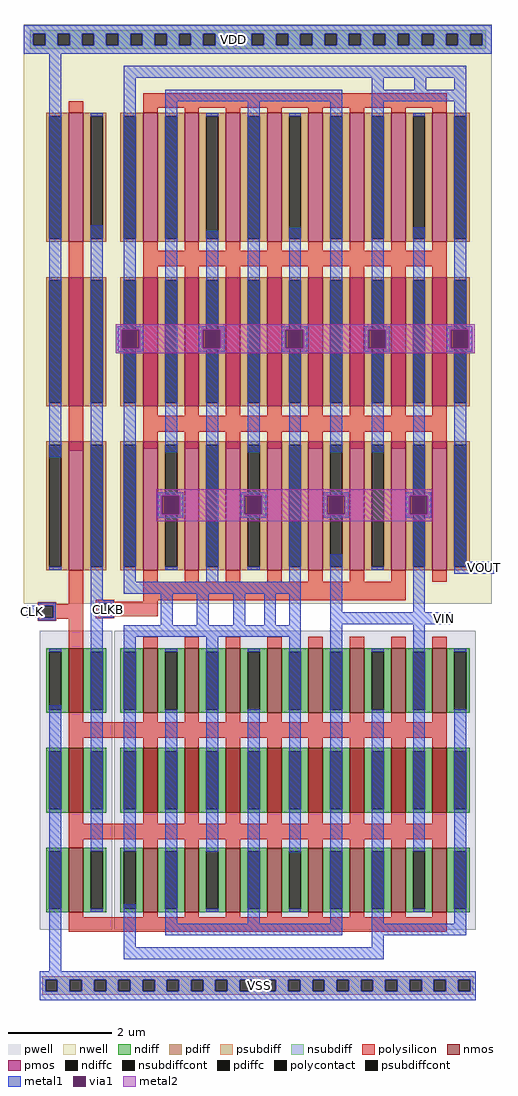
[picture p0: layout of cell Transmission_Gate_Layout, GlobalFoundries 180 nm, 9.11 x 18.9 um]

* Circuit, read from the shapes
.subckt Transmission_Gate_Layout VSS VDD CLKB VIN VOUT CLK
XM1 CLKB CLK VSS VSS nfet_03v3 w=1.25u l=0.28u m=3
XM2 VIN CLK VOUT VSS nfet_03v3 w=1.25u l=0.28u m=24
XM3 CLKB CLK VDD VDD pfet_03v3 w=2.5u l=0.28u m=3
XM4 VIN CLKB VOUT VDD pfet_03v3 w=2.5u l=0.28u m=24
.ends

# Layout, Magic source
magic
tech gf180mcuC
magscale 1 10
<< nwell >>
rect -350 3294 1462 3508
<< psubdiff >>
rect -279 -193 1391 -180
rect -279 -239 -266 -193
rect -220 -239 -172 -193
rect -126 -239 -78 -193
rect -32 -239 16 -193
rect 62 -239 110 -193
rect 156 -239 204 -193
rect 250 -239 298 -193
rect 344 -239 392 -193
rect 438 -239 486 -193
rect 532 -239 580 -193
rect 626 -239 674 -193
rect 720 -239 768 -193
rect 814 -239 862 -193
rect 908 -239 956 -193
rect 1002 -239 1050 -193
rect 1096 -239 1144 -193
rect 1190 -239 1238 -193
rect 1284 -239 1332 -193
rect 1378 -239 1391 -193
rect -279 -252 1391 -239
<< nsubdiff >>
rect -326 3471 1438 3484
rect -326 3425 -313 3471
rect -267 3425 -219 3471
rect -173 3425 -125 3471
rect -79 3425 -31 3471
rect 15 3425 63 3471
rect 109 3425 157 3471
rect 203 3425 251 3471
rect 297 3425 345 3471
rect 391 3425 439 3471
rect 485 3425 533 3471
rect 579 3425 627 3471
rect 673 3425 721 3471
rect 767 3425 815 3471
rect 861 3425 909 3471
rect 955 3425 1003 3471
rect 1049 3425 1097 3471
rect 1143 3425 1191 3471
rect 1237 3425 1285 3471
rect 1331 3425 1379 3471
rect 1425 3425 1438 3471
rect -326 3412 1438 3425
<< psubdiffcont >>
rect -266 -239 -220 -193
rect -172 -239 -126 -193
rect -78 -239 -32 -193
rect 16 -239 62 -193
rect 110 -239 156 -193
rect 204 -239 250 -193
rect 298 -239 344 -193
rect 392 -239 438 -193
rect 486 -239 532 -193
rect 580 -239 626 -193
rect 674 -239 720 -193
rect 768 -239 814 -193
rect 862 -239 908 -193
rect 956 -239 1002 -193
rect 1050 -239 1096 -193
rect 1144 -239 1190 -193
rect 1238 -239 1284 -193
rect 1332 -239 1378 -193
<< nsubdiffcont >>
rect -313 3425 -267 3471
rect -219 3425 -173 3471
rect -125 3425 -79 3471
rect -31 3425 15 3471
rect 63 3425 109 3471
rect 157 3425 203 3471
rect 251 3425 297 3471
rect 345 3425 391 3471
rect 439 3425 485 3471
rect 533 3425 579 3471
rect 627 3425 673 3471
rect 721 3425 767 3471
rect 815 3425 861 3471
rect 909 3425 955 3471
rect 1003 3425 1049 3471
rect 1097 3425 1143 3471
rect 1191 3425 1237 3471
rect 1285 3425 1331 3471
rect 1379 3425 1425 3471
<< polysilicon >>
rect 112 3184 1288 3240
rect -176 1856 -120 2634
rect 112 2630 168 2640
rect 272 2630 328 2640
rect 432 2630 488 2640
rect 592 2630 648 2640
rect 752 2630 808 2640
rect 912 2630 968 2640
rect 1072 2630 1128 2640
rect 1232 2630 1288 2640
rect 112 2569 1288 2630
rect 112 1990 168 2569
rect 272 1990 328 2569
rect 432 1990 488 2569
rect 592 1990 648 2569
rect 752 1990 808 2569
rect 912 1990 968 2569
rect 1072 1990 1128 2569
rect 1232 1990 1288 2569
rect 112 1929 1288 1990
rect 112 1862 168 1929
rect 272 1862 328 1929
rect 432 1862 488 1929
rect 592 1862 648 1929
rect 752 1862 808 1929
rect 912 1862 968 1929
rect 1072 1862 1128 1929
rect 1232 1862 1288 1929
rect -296 1260 -224 1268
rect -176 1260 -120 1368
rect 112 1348 168 1368
rect -296 1255 -120 1260
rect -296 1209 -283 1255
rect -237 1209 -120 1255
rect -296 1204 -120 1209
rect -72 1270 0 1278
rect 112 1276 1128 1348
rect 112 1270 168 1276
rect -72 1265 168 1270
rect -72 1219 -59 1265
rect -13 1219 168 1265
rect -72 1214 168 1219
rect -72 1206 0 1214
rect -296 1196 -224 1204
rect -176 804 -120 1204
rect 112 804 168 840
rect 272 804 328 840
rect 432 804 488 840
rect 592 804 648 840
rect 752 804 808 840
rect 912 804 968 840
rect 1072 804 1128 840
rect 1232 804 1288 840
rect -176 744 1288 804
rect -176 411 -120 744
rect 112 411 168 744
rect 272 411 328 744
rect 432 411 488 744
rect 592 411 648 744
rect 752 411 808 744
rect 912 411 968 744
rect 1072 411 1128 744
rect 1232 411 1288 744
rect -176 351 1288 411
rect -176 318 -120 351
rect 112 312 168 351
rect 272 312 328 351
rect 432 312 488 351
rect 592 312 648 351
rect 752 312 808 351
rect 912 312 968 351
rect 1072 312 1128 351
rect 1232 312 1288 351
rect -176 -8 1288 48
<< polycontact >>
rect -283 1209 -237 1255
rect -59 1219 -13 1265
<< metal1 >>
rect -350 3471 1462 3504
rect -350 3425 -313 3471
rect -267 3425 -219 3471
rect -173 3425 -125 3471
rect -79 3425 -31 3471
rect 15 3425 63 3471
rect 109 3425 157 3471
rect 203 3425 251 3471
rect 297 3425 345 3471
rect 391 3425 439 3471
rect 485 3425 533 3471
rect 579 3425 627 3471
rect 673 3425 721 3471
rect 767 3425 815 3471
rect 861 3425 909 3471
rect 955 3425 1003 3471
rect 1049 3425 1097 3471
rect 1143 3425 1191 3471
rect 1237 3425 1285 3471
rect 1331 3425 1379 3471
rect 1425 3425 1462 3471
rect -350 3392 1462 3425
rect -251 1831 -205 3392
rect 37 3300 1363 3346
rect -91 1276 -45 2729
rect 37 2338 83 3300
rect 997 3254 1043 3300
rect 1162 3254 1208 3300
rect 1317 3254 1363 3300
rect 197 3208 883 3254
rect 13 2323 112 2338
rect 13 2253 28 2323
rect 96 2253 112 2323
rect 13 2239 112 2253
rect 37 1348 83 2239
rect 197 1850 243 3208
rect 357 2338 403 2708
rect 328 2323 427 2338
rect 328 2253 343 2323
rect 411 2253 427 2323
rect 328 2239 427 2253
rect 169 1680 268 1695
rect 169 1610 184 1680
rect 252 1610 268 1680
rect 169 1596 268 1610
rect 357 1348 403 2239
rect 517 1849 563 3208
rect 677 2338 723 2719
rect 648 2323 747 2338
rect 648 2253 663 2323
rect 731 2253 747 2323
rect 648 2239 747 2253
rect 489 1680 588 1695
rect 489 1610 504 1680
rect 572 1610 588 1680
rect 489 1596 588 1610
rect 677 1348 723 2239
rect 837 1849 883 3208
rect 997 3208 1363 3254
rect 997 2338 1043 3208
rect 968 2323 1067 2338
rect 968 2253 983 2323
rect 1051 2253 1067 2323
rect 968 2239 1067 2253
rect 997 1850 1043 2239
rect 1157 1695 1203 2720
rect 1317 2338 1363 3208
rect 1288 2323 1387 2338
rect 1288 2253 1303 2323
rect 1371 2253 1387 2323
rect 1288 2239 1387 2253
rect 809 1680 908 1695
rect 809 1610 824 1680
rect 892 1610 908 1680
rect 809 1596 908 1610
rect 1129 1680 1228 1695
rect 1129 1610 1144 1680
rect 1212 1610 1228 1680
rect 1129 1596 1228 1610
rect 37 1302 723 1348
rect -294 1255 -226 1266
rect -339 1209 -283 1255
rect -237 1209 -226 1255
rect -294 1198 -226 1209
rect -91 1265 -2 1276
rect -91 1219 -59 1265
rect -13 1219 -2 1265
rect -91 1208 -2 1219
rect -251 -160 -205 870
rect -91 305 -45 1208
rect 180 1180 226 1302
rect 320 1180 366 1302
rect 461 1180 507 1302
rect 580 1180 626 1302
rect 677 1180 723 1302
rect 37 1134 723 1180
rect 37 305 83 1134
rect 37 -68 83 98
rect 197 24 243 853
rect 357 303 403 1134
rect 517 24 563 854
rect 677 300 723 1134
rect 837 1230 883 1454
rect 1157 1230 1203 1596
rect 1317 1425 1363 2239
rect 1317 1379 1471 1425
rect 837 1184 1306 1230
rect 837 24 883 1184
rect 197 -22 883 24
rect 997 24 1043 853
rect 1157 305 1203 1184
rect 1317 24 1363 854
rect 997 -22 1363 24
rect 997 -68 1043 -22
rect 37 -114 1043 -68
rect -288 -193 1400 -160
rect -288 -239 -266 -193
rect -220 -239 -172 -193
rect -126 -239 -78 -193
rect -32 -239 16 -193
rect 62 -239 110 -193
rect 156 -239 204 -193
rect 250 -239 298 -193
rect 344 -239 392 -193
rect 438 -239 486 -193
rect 532 -239 580 -193
rect 626 -239 674 -193
rect 720 -239 768 -193
rect 814 -239 862 -193
rect 908 -239 956 -193
rect 1002 -239 1050 -193
rect 1096 -239 1144 -193
rect 1190 -239 1238 -193
rect 1284 -239 1332 -193
rect 1378 -239 1400 -193
rect -288 -272 1400 -239
<< via1 >>
rect 28 2253 96 2323
rect 343 2253 411 2323
rect 184 1610 252 1680
rect 663 2253 731 2323
rect 504 1610 572 1680
rect 983 2253 1051 2323
rect 1303 2253 1371 2323
rect 824 1610 892 1680
rect 1144 1610 1212 1680
<< metal2 >>
rect 5 2323 1397 2346
rect 5 2253 28 2323
rect 96 2253 343 2323
rect 411 2253 663 2323
rect 731 2253 983 2323
rect 1051 2253 1303 2323
rect 1371 2253 1397 2323
rect 5 2232 1397 2253
rect 162 1680 1232 1707
rect 162 1610 184 1680
rect 252 1610 504 1680
rect 572 1610 824 1680
rect 892 1610 1144 1680
rect 1212 1610 1232 1680
rect 162 1582 1232 1610
use nmos_3p3_RZHRT2  nmos_3p3_RZHRT2_0
transform 1 0 700 0 1 579
box -700 -579 700 579
use nmos_3p3_Y4JRT2  nmos_3p3_Y4JRT2_0
transform 1 0 -148 0 1 579
box -140 -579 140 579
use pmos_3p3_M6SUKR  pmos_3p3_M6SUKR_1
transform 1 0 700 0 1 2278
box -762 -1016 762 1016
use pmos_3p3_METUKR  pmos_3p3_METUKR_0
transform 1 0 -148 0 1 2278
box -202 -1016 202 1016
<< labels >>
flabel metal1 561 -216 561 -216 0 FreeSans 320 0 0 0 VSS
port 1 nsew
flabel nsubdiffcont 462 3448 462 3448 0 FreeSans 320 0 0 0 VDD
port 2 nsew
flabel polycontact -22 1239 -22 1239 0 FreeSans 640 0 0 0 CLKB
port 6 nsew
flabel metal1 1278 1204 1278 1204 0 FreeSans 640 0 0 0 VIN
port 7 nsew
flabel metal1 1433 1404 1433 1404 0 FreeSans 640 0 0 0 VOUT
port 8 nsew
flabel metal1 -318 1232 -318 1232 0 FreeSans 640 0 0 0 CLK
port 9 nsew
<< end >>

# cell nmos_3p3_RZHRT2: kit device nmos_3p3, w 1.25 l 0.280 m 3 nf 8 diffcov 100 polycov 100 guard 0 glc 0 grc 0 gtc 0 gbc 0 tbcov 100 rlcov 100 topc 0 botc 0 poverlap 0 doverlap 1 lmin 0.28 wmin 0.22 full_metal 0 compatible {nmos_3p3 nmos_6p0 nmos_6p0_nat}

# cell nmos_3p3_Y4JRT2: kit device nmos_3p3, w 1.25 l 0.280 m 3 nf 1 diffcov 100 polycov 100 guard 0 glc 0 grc 0 gtc 0 gbc 0 tbcov 100 rlcov 100 topc 0 botc 0 poverlap 0 doverlap 1 lmin 0.28 wmin 0.22 full_metal 0 compatible {nmos_3p3 nmos_6p0 nmos_6p0_nat}

# cell pmos_3p3_M6SUKR: kit device pmos_3p3, w 2.5 l 0.280 m 3 nf 8 diffcov 100 polycov 100 guard 0 glc 0 grc 0 gtc 0 gbc 0 tbcov 100 rlcov 100 topc 0 botc 0 poverlap 0 doverlap 1 lmin 0.28 wmin 0.22 full_metal 0 compatible {pmos_3p3 pmos_6p0}

# cell pmos_3p3_METUKR: kit device pmos_3p3, w 2.5 l 0.280 m 3 nf 1 diffcov 100 polycov 100 guard 0 glc 0 grc 0 gtc 0 gbc 0 tbcov 100 rlcov 100 topc 0 botc 0 poverlap 0 doverlap 1 lmin 0.28 wmin 0.22 full_metal 0 compatible {pmos_3p3 pmos_6p0}
